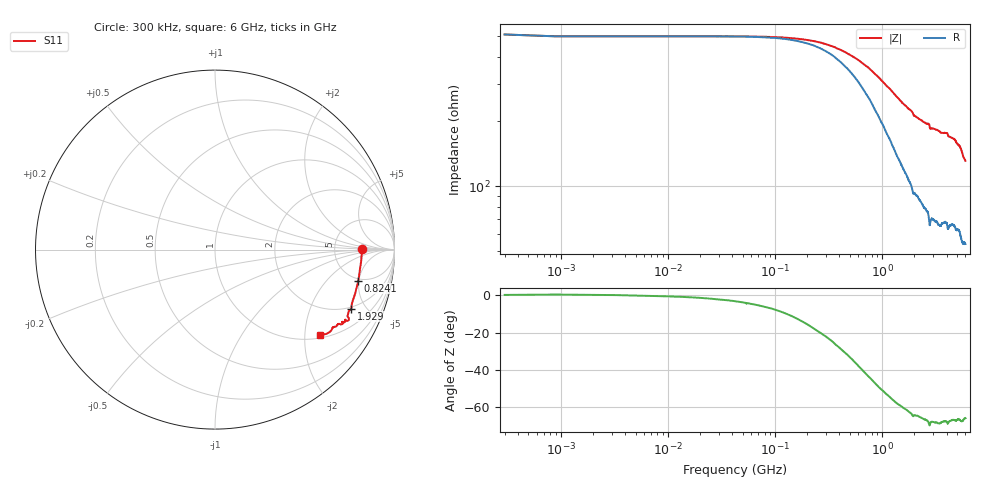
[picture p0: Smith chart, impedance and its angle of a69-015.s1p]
!  3/12/2021  09:58:37
! Ref Plane: 23.990 mm
# MHZ S MA R  50
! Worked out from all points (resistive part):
!   10001 points, 300 kHz to 6 GHz, reference 50 ohm
!   read as one part to ground: R = 498 ohm at 30.3 MHz
!   S11 on the Smith chart (normalised r, x): 300 kHz: 10, +0; 824.1 MHz: 4.73, -4.88; 1.929 GHz: 1.90, -3.97; 6 GHz: 1.07, -2.39
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0.3  0.8209 0.1
393.2804  0.8157 -6.2
750.2625  0.8164 -11.2
824.0588  0.816 -12.2
1104.245  0.8172 -15.7
1500.225  0.8183 -19.9
1929.204  0.8279 -23.4
2005.4  0.8209 -24.1
2250.188  0.8219 -25.3
2683.966  0.8293 -26.9
2752.962  0.8398 -27.3
2801.56  0.8349 -28.4
2852.557  0.8255 -28.4
3000.15  0.8256 -28.3
3311.534  0.8276 -28.9
3510.124  0.8236 -29.6
3750.113  0.8165 -29.7
4012.899  0.8166 -29.6
4078.896  0.8227 -29.9
4195.29  0.8129 -30.8
4500.075  0.8035 -31.0
4794.06  0.8 -31.6
4977.651  0.795 -32.8
5250.038  0.7872 -33.6
5448.628  0.7889 -34.9
5677.216  0.7777 -37.2
5784.011  0.7668 -38.0
6000  0.7556 -39.2
